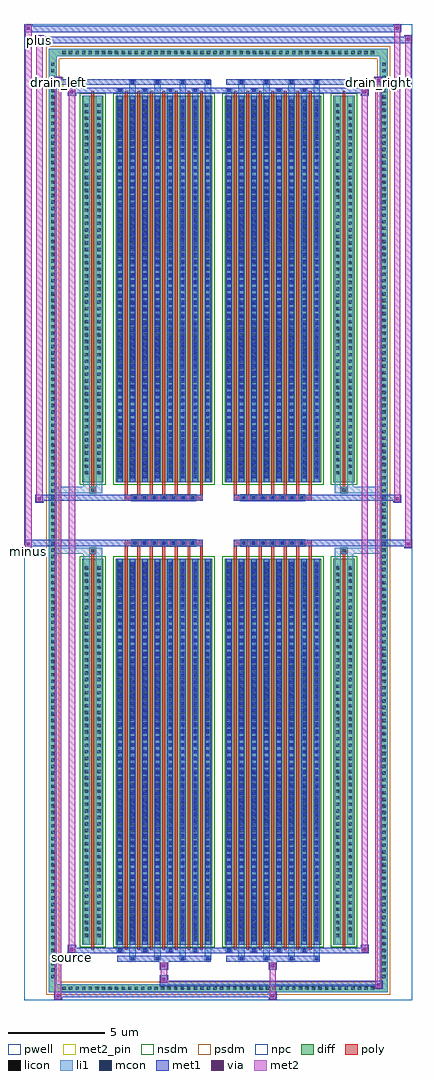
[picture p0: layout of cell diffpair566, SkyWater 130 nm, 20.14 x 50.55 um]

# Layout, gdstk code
import gdstk
lib = gdstk.Library(unit=1e-6, precision=5e-09)
def R(c, l, rs):  # rectangles x0, y0, x1, y1
    for r in rs: c.add(gdstk.rectangle(r[:2], r[2:], *l))
def A(c, l, x, y, w, h, nx, ny, dx, dy):  # array of equal rectangles
    R(c, l, [(x+i*dx, y+j*dy, x+i*dx+w, y+j*dy+h) for i in range(nx) for j in range(ny)])
def P(c, l, *ps):  # polygons
    for p in ps: c.add(gdstk.Polygon(p, *l))
pwell = (64, 44)
diff = (65, 20)
poly = (66, 20)
licon = (66, 44)
li1 = (67, 20)
mcon = (67, 44)
met1 = (68, 20)
via = (68, 44)
met2_pin = (69, 16)
met2 = (69, 20)
nsdm = (93, 44)
psdm = (94, 20)
npc = (95, 20)

diffpair566 = lib.new_cell('diffpair566')
R(diffpair566, pwell, [(-10.05,-24.84,10.05,25.71), (-7.37,-23.03,-0.01,-0.805), (0.01,-23.03,7.37,-0.805), (-7.37,0.805,-0.01,23.03), (0.01,0.805,7.37,23.03)])
A(diffpair566, diff, -8.195, -24.44, 0.41, 0.41, 48, 2, 0.34, 48.47)
A(diffpair566, diff, -8.78, -23.835, 0.41, 0.41, 1, 140, 0, 0.34)
A(diffpair566, diff, 8.37, -23.835, 0.41, 0.41, 1, 140, 0, 0.34)
R(diffpair566, diff, [(-8.195,-24.44,8.195,-24.03), (-8.78,-23.835,-8.37,23.835), (8.37,-23.835,8.78,23.835), (-7.06,-21.985,-5.96,-1.985), (-5.32,-21.985,-0.32,-1.985), (0.32,-21.985,5.32,-1.985), (5.96,-21.985,7.06,-1.985), (-7.06,1.985,-5.96,21.985), (-5.32,1.985,-0.32,21.985), (0.32,1.985,5.32,21.985), (5.96,1.985,7.06,21.985), (-8.195,24.03,8.195,24.44)])
P(diffpair566, diff, [(8.78,24.44),(-8.78,24.44),(-8.78,-24.03),(-8.37,-24.03),(-8.37,24.03),(8.37,24.03),(8.37,-24.03),(-8.37,-24.03),(-8.78,-24.03),(-8.78,-24.44),(8.78,-24.44)])
A(diffpair566, poly, -4.845, -22.235, 0.15, 20.5, 7, 2, 0.65, 23.97)
A(diffpair566, poly, 0.795, -22.235, 0.15, 20.5, 7, 2, 0.65, 23.97)
A(diffpair566, poly, -4.845, -1.735, 0.15, 0.4, 7, 2, 0.65, 3.07)
A(diffpair566, poly, 0.795, -1.735, 0.15, 0.4, 7, 2, 0.65, 3.07)
A(diffpair566, poly, -4.485, -1.335, 0.33, 0.33, 7, 2, 0.5, 2.34)
A(diffpair566, poly, 1.155, -1.335, 0.33, 0.33, 7, 2, 0.5, 2.34)
R(diffpair566, poly, [(-6.585,-22.235,-6.435,-1.735), (6.435,-22.235,6.585,-1.735), (-6.675,-1.735,-6.345,-1.405), (-6.675,-1.735,-6.345,-1.405), (6.345,-1.735,6.675,-1.405), (6.345,-1.735,6.675,-1.405), (-4.845,-1.335,-0.795,-1.005), (0.795,-1.335,4.845,-1.005), (-4.845,1.005,-0.795,1.335), (0.795,1.005,4.845,1.335), (-6.675,1.405,-6.345,1.735), (-6.675,1.405,-6.345,1.735), (6.345,1.405,6.675,1.735), (6.345,1.405,6.675,1.735), (-6.585,1.735,-6.435,22.235), (6.435,1.735,6.585,22.235)])
A(diffpair566, licon, -8.075, -24.32, 0.17, 0.17, 48, 2, 0.34, 48.47)
A(diffpair566, licon, -8.66, -23.715, 0.17, 0.17, 1, 140, 0, 0.34)
A(diffpair566, licon, 8.49, -23.715, 0.17, 0.17, 1, 140, 0, 0.34)
A(diffpair566, licon, -6.92, -21.59, 0.17, 0.17, 1, 57, 0, 0.34)
A(diffpair566, licon, -6.27, -21.59, 0.17, 0.17, 1, 57, 0, 0.34)
A(diffpair566, licon, -5.18, -21.59, 0.17, 0.17, 8, 57, 0.65, 0.34)
A(diffpair566, licon, 0.46, -21.59, 0.17, 0.17, 8, 57, 0.65, 0.34)
A(diffpair566, licon, 6.1, -21.59, 0.17, 0.17, 1, 57, 0, 0.34)
A(diffpair566, licon, 6.75, -21.59, 0.17, 0.17, 1, 57, 0, 0.34)
A(diffpair566, licon, -4.405, -1.255, 0.17, 0.17, 7, 2, 0.5, 2.34)
A(diffpair566, licon, 1.235, -1.255, 0.17, 0.17, 7, 2, 0.5, 2.34)
A(diffpair566, licon, -6.92, 2.38, 0.17, 0.17, 1, 57, 0, 0.34)
A(diffpair566, licon, -6.27, 2.38, 0.17, 0.17, 1, 57, 0, 0.34)
A(diffpair566, licon, -5.18, 2.38, 0.17, 0.17, 8, 57, 0.65, 0.34)
A(diffpair566, licon, 0.46, 2.38, 0.17, 0.17, 8, 57, 0.65, 0.34)
A(diffpair566, licon, 6.1, 2.38, 0.17, 0.17, 1, 57, 0, 0.34)
A(diffpair566, licon, 6.75, 2.38, 0.17, 0.17, 1, 57, 0, 0.34)
R(diffpair566, licon, [(-6.595,-1.655,-6.425,-1.485), (6.425,-1.655,6.595,-1.485), (-6.595,1.485,-6.425,1.655), (6.425,1.485,6.595,1.655)])
A(diffpair566, li1, -8.155, -24.4, 0.33, 0.33, 48, 2, 0.34, 48.47)
A(diffpair566, li1, -8.74, -23.795, 0.33, 0.33, 1, 140, 0, 0.34)
A(diffpair566, li1, 8.41, -23.795, 0.33, 0.33, 1, 140, 0, 0.34)
A(diffpair566, li1, -4.61, -22.79, 0.33, 0.805, 4, 2, 1.3, 44.775)
A(diffpair566, li1, -4.53, -22.79, 0.17, 0.17, 4, 2, 1.3, 45.41)
A(diffpair566, li1, 1.03, -22.79, 0.33, 0.805, 4, 2, 1.3, 44.775)
A(diffpair566, li1, 1.11, -22.79, 0.17, 0.17, 4, 2, 1.3, 45.41)
A(diffpair566, li1, -5.26, -22.36, 0.33, 0.375, 4, 2, 1.3, 44.345)
A(diffpair566, li1, -5.18, -22.36, 0.17, 0.17, 4, 2, 1.3, 44.55)
A(diffpair566, li1, 0.38, -22.36, 0.33, 0.375, 4, 2, 1.3, 44.345)
A(diffpair566, li1, 0.46, -22.36, 0.17, 0.17, 4, 2, 1.3, 44.55)
A(diffpair566, li1, -5.26, -21.985, 0.33, 20, 8, 2, 0.65, 23.97)
A(diffpair566, li1, 0.38, -21.985, 0.33, 20, 8, 2, 0.65, 23.97)
A(diffpair566, li1, -5.18, -21.79, 0.17, 0.17, 8, 55, 0.65, 0.36)
A(diffpair566, li1, -5.18, -21.79, 0.17, 19.61, 8, 2, 0.65, 23.97)
A(diffpair566, li1, 0.46, -21.79, 0.17, 0.17, 8, 55, 0.65, 0.36)
A(diffpair566, li1, 0.46, -21.79, 0.17, 19.61, 8, 2, 0.65, 23.97)
A(diffpair566, li1, -7, -21.67, 0.33, 0.33, 1, 57, 0, 0.34)
A(diffpair566, li1, -6.35, -21.67, 0.33, 0.33, 1, 57, 0, 0.34)
A(diffpair566, li1, -5.26, -21.67, 0.33, 0.33, 8, 57, 0.65, 0.34)
A(diffpair566, li1, 0.38, -21.67, 0.33, 0.33, 8, 57, 0.65, 0.34)
A(diffpair566, li1, 6.02, -21.67, 0.33, 0.33, 1, 57, 0, 0.34)
A(diffpair566, li1, 6.67, -21.67, 0.33, 0.33, 1, 57, 0, 0.34)
A(diffpair566, li1, -4.485, -1.335, 0.33, 0.33, 7, 2, 0.5, 2.34)
A(diffpair566, li1, 1.155, -1.335, 0.33, 0.33, 7, 2, 0.5, 2.34)
A(diffpair566, li1, -5.18, 2.18, 0.17, 0.17, 8, 55, 0.65, 0.36)
A(diffpair566, li1, 0.46, 2.18, 0.17, 0.17, 8, 55, 0.65, 0.36)
A(diffpair566, li1, -7, 2.3, 0.33, 0.33, 1, 57, 0, 0.34)
A(diffpair566, li1, -6.35, 2.3, 0.33, 0.33, 1, 57, 0, 0.34)
A(diffpair566, li1, -5.26, 2.3, 0.33, 0.33, 8, 57, 0.65, 0.34)
A(diffpair566, li1, 0.38, 2.3, 0.33, 0.33, 8, 57, 0.65, 0.34)
A(diffpair566, li1, 6.02, 2.3, 0.33, 0.33, 1, 57, 0, 0.34)
A(diffpair566, li1, 6.67, 2.3, 0.33, 0.33, 1, 57, 0, 0.34)
R(diffpair566, li1, [(-8.78,-24.44,-8.37,-24.03), (-8.78,-24.44,-8.37,-24.03), (-8.37,-24.44,8.37,-24.03), (8.37,-24.44,8.78,-24.03), (8.37,-24.44,8.78,-24.03), (-8.78,-24.03,-8.37,24.03), (8.37,-24.03,8.78,24.03), (-7,-21.985,-6.67,-1.985), (-6.35,-21.985,-6.02,-1.985), (6.02,-21.985,6.35,-1.985), (6.67,-21.985,7,-1.985), (-7,-1.985,-6.67,-1.405), (-6.35,-1.985,-6.02,-1.405), (6.02,-1.985,6.35,-1.405), (6.67,-1.985,7,-1.405), (-8.78,-1.735,-6.675,-1.405), (-7,-1.735,-6.675,-1.405), (-6.675,-1.735,-6.345,-1.405), (-6.345,-1.735,-6.02,-1.405), (6.02,-1.735,6.345,-1.405), (6.345,-1.735,6.675,-1.405), (6.345,-1.735,8.78,-1.405), (6.675,-1.735,7,-1.405), (-8.78,1.405,-6.675,1.735), (-7,1.405,-6.675,1.735), (-7,1.405,-6.67,1.985), (-6.675,1.405,-6.345,1.735), (-6.35,1.405,-6.02,1.985), (-6.345,1.405,-6.02,1.735), (6.02,1.405,6.345,1.735), (6.02,1.405,6.35,1.985), (6.345,1.405,6.675,1.735), (6.345,1.405,8.78,1.735), (6.67,1.405,7,1.985), (6.675,1.405,7,1.735), (-7,1.985,-6.67,21.985), (-6.35,1.985,-6.02,21.985), (6.02,1.985,6.35,21.985), (6.67,1.985,7,21.985), (-8.78,24.03,-8.37,24.44), (-8.78,24.03,-8.37,24.44), (-8.37,24.03,8.37,24.44), (8.37,24.03,8.78,24.44), (8.37,24.03,8.78,24.44)])
A(diffpair566, mcon, -4.53, -22.79, 0.17, 0.17, 4, 2, 1.3, 45.41)
A(diffpair566, mcon, 1.11, -22.79, 0.17, 0.17, 4, 2, 1.3, 45.41)
A(diffpair566, mcon, -5.18, -22.36, 0.17, 0.17, 4, 2, 1.3, 44.55)
A(diffpair566, mcon, 0.46, -22.36, 0.17, 0.17, 4, 2, 1.3, 44.55)
A(diffpair566, mcon, -5.18, -21.79, 0.17, 0.17, 8, 55, 0.65, 0.36)
A(diffpair566, mcon, 0.46, -21.79, 0.17, 0.17, 8, 55, 0.65, 0.36)
A(diffpair566, mcon, -4.405, -1.255, 0.17, 0.17, 7, 2, 0.5, 2.34)
A(diffpair566, mcon, 1.235, -1.255, 0.17, 0.17, 7, 2, 0.5, 2.34)
A(diffpair566, mcon, -5.18, 2.18, 0.17, 0.17, 8, 55, 0.65, 0.36)
A(diffpair566, mcon, 0.46, 2.18, 0.17, 0.17, 8, 55, 0.65, 0.36)
A(diffpair566, met1, -4.59, -22.85, 0.29, 0.29, 4, 2, 1.3, 45.41)
A(diffpair566, met1, 1.05, -22.85, 0.29, 0.29, 4, 2, 1.3, 45.41)
A(diffpair566, met1, -5.24, -22.42, 0.29, 0.29, 4, 2, 1.3, 44.55)
A(diffpair566, met1, 0.4, -22.42, 0.29, 0.29, 4, 2, 1.3, 44.55)
A(diffpair566, met1, -5.24, -21.985, 0.29, 20, 8, 2, 0.65, 23.97)
A(diffpair566, met1, 0.4, -21.985, 0.29, 20, 8, 2, 0.65, 23.97)
A(diffpair566, met1, -5.24, -21.85, 0.29, 0.29, 8, 55, 0.65, 0.36)
A(diffpair566, met1, 0.4, -21.85, 0.29, 0.29, 8, 55, 0.65, 0.36)
A(diffpair566, met1, -4.465, -1.315, 0.29, 0.29, 7, 2, 0.5, 2.34)
A(diffpair566, met1, 1.175, -1.315, 0.29, 0.29, 7, 2, 0.5, 2.34)
A(diffpair566, met1, -5.24, 2.12, 0.29, 0.29, 8, 55, 0.65, 0.36)
A(diffpair566, met1, 0.4, 2.12, 0.29, 0.29, 8, 55, 0.65, 0.36)
R(diffpair566, met1, [(-8.51,-24.84,-8.08,-24.41), (2.605,-24.84,3.035,-24.41), (-8.51,-24.7,3.035,-24.41), (8.08,-24.27,8.51,-23.84), (-3.035,-24.13,8.51,-23.84), (-3.035,-23.99,-2.605,-23.56), (-3.035,-23.28,-2.605,-22.85), (2.605,-23.28,3.035,-22.85), (-5.24,-22.85,-0.4,-22.56), (0.4,-22.85,5.24,-22.56), (-7.8,-22.42,-7.37,-21.99), (-7.8,-22.42,-5.24,-22.13), (-5.24,-22.42,-0.4,-22.13), (-0.4,-22.42,0.4,-22.13), (0.4,-22.42,5.24,-22.13), (5.24,-22.42,7.8,-22.13), (7.37,-22.42,7.8,-21.99), (-10.05,-1.435,-9.62,-1.005), (9.62,-1.435,10.05,-1.005), (-10.05,-1.335,-0.795,-1.005), (-4.845,-1.335,-0.795,-1.005), (0.795,-1.335,4.845,-1.005), (0.795,-1.335,10.05,-1.005), (-9.48,0.905,-9.05,1.335), (9.05,0.905,9.48,1.335), (-9.48,1.005,-4.845,1.335), (-4.845,1.005,-0.795,1.335), (0.795,1.005,4.845,1.335), (4.845,1.005,9.48,1.335), (-7.8,21.99,-7.37,22.42), (7.37,21.99,7.8,22.42), (-7.8,22.13,-5.24,22.42), (-5.24,22.13,-0.4,22.42), (-0.4,22.13,0.4,22.42), (0.4,22.13,5.24,22.42), (5.24,22.13,7.8,22.42), (-8.51,22.56,-8.08,22.99), (-8.51,22.56,-5.24,22.85), (-5.24,22.56,-0.4,22.85), (0.4,22.56,5.24,22.85), (5.24,22.56,8.51,22.85), (8.08,22.56,8.51,22.99), (-9.48,24.71,-9.05,25.14), (-9.48,24.71,-7.37,25.04), (-7.37,24.71,7.37,25.04), (7.37,24.71,10.05,25.04), (9.62,24.71,10.05,25.14), (-10.05,25.28,-9.62,25.71), (-10.05,25.28,-7.37,25.61), (-7.37,25.28,7.37,25.61), (7.37,25.28,9.48,25.61), (9.05,25.28,9.48,25.71)])
R(diffpair566, via, [(-8.37,-24.7,-8.22,-24.55), (2.745,-24.7,2.895,-24.55), (8.22,-24.13,8.37,-23.98), (-2.895,-23.85,-2.745,-23.7), (-2.895,-23.14,-2.745,-22.99), (2.745,-23.14,2.895,-22.99), (-7.66,-22.28,-7.51,-22.13), (7.51,-22.28,7.66,-22.13), (-9.91,-1.295,-9.76,-1.145), (9.76,-1.295,9.91,-1.145), (-9.34,1.045,-9.19,1.195), (9.19,1.045,9.34,1.195), (-7.66,22.13,-7.51,22.28), (7.51,22.13,7.66,22.28), (-8.37,22.7,-8.22,22.85), (8.22,22.7,8.37,22.85), (-9.34,24.85,-9.19,25), (9.76,24.85,9.91,25), (-9.91,25.42,-9.76,25.57), (9.19,25.42,9.34,25.57)])
R(diffpair566, met2_pin, [(-7.835,-22.87,-7.335,-22.37), (-10.085,-1.885,-9.585,-1.385), (-8.545,22.44,-8.045,22.94), (8.045,22.44,8.545,22.94), (-9.515,24.59,-9.015,25.09)])
R(diffpair566, met2, [(-8.46,-24.79,-8.13,-24.46), (-8.46,-24.79,-8.13,22.94), (2.655,-24.79,2.985,-24.46), (2.655,-24.46,2.985,-23.23), (8.13,-24.22,8.46,-23.89), (8.13,-24.22,8.46,22.94), (-2.985,-23.94,-2.655,-23.61), (-2.985,-23.61,-2.655,-23.23), (-2.985,-23.23,-2.655,-22.9), (2.655,-23.23,2.985,-22.9), (-7.75,-22.37,-7.42,-22.04), (-7.75,-22.37,-7.42,22.37), (7.42,-22.37,7.75,-22.04), (7.42,-22.37,7.75,22.37), (-10,-1.385,-9.67,-1.055), (-10,-1.385,-9.67,25.66), (9.67,-1.385,10,-1.055), (9.67,-1.385,10,25.09), (-9.43,0.955,-9.1,1.285), (-9.43,0.955,-9.1,25.09), (9.1,0.955,9.43,1.285), (9.1,0.955,9.43,25.66), (-7.75,22.04,-7.42,22.37), (7.42,22.04,7.75,22.37), (-8.46,22.61,-8.13,22.94), (8.13,22.61,8.46,22.94), (-9.43,24.76,-9.1,25.09), (9.67,24.76,10,25.09), (-10,25.33,-9.67,25.66), (9.1,25.33,9.43,25.66)])
P(diffpair566, met2, [(10,-1.385),(10,-1.385),(10,-1.055),(10,-1.055)],
  [(10,24.76),(10,24.76),(10,25.09),(10,25.09)],
  [(-9.67,-1.385),(-9.67,-1.385),(-9.67,-1.055),(-9.67,-1.055)],
  [(-9.67,25.33),(-9.67,25.33),(-9.67,25.66),(-9.67,25.66)],
  [(9.43,0.955),(9.43,0.955),(9.43,1.285),(9.43,1.285)],
  [(9.43,25.33),(9.43,25.33),(9.43,25.66),(9.43,25.66)],
  [(-9.1,0.955),(-9.1,0.955),(-9.1,1.285),(-9.1,1.285)],
  [(-9.1,24.76),(-9.1,24.76),(-9.1,25.09),(-9.1,25.09)],
  [(-8.13,-24.79),(-8.13,-24.79),(-8.13,-24.46),(-8.13,-24.46)],
  [(-8.13,22.61),(-8.13,22.61),(-8.13,22.94),(-8.13,22.94)],
  [(8.46,-24.22),(8.46,-24.22),(8.46,-23.89),(8.46,-23.89)],
  [(8.46,22.61),(8.46,22.61),(8.46,22.94),(8.46,22.94)],
  [(-7.42,-22.37),(-7.42,-22.37),(-7.42,-22.04),(-7.42,-22.04)],
  [(-7.42,22.04),(-7.42,22.04),(-7.42,22.37),(-7.42,22.37)],
  [(7.75,-22.37),(7.75,-22.37),(7.75,-22.04),(7.75,-22.04)],
  [(7.75,22.04),(7.75,22.04),(7.75,22.37),(7.75,22.37)])
R(diffpair566, nsdm, [(-7.19,-22.115,-5.83,-1.855), (-5.45,-22.115,-0.19,-1.855), (0.19,-22.115,5.45,-1.855), (5.83,-22.115,7.19,-1.855), (-7.19,1.855,-5.83,22.115), (-5.45,1.855,-0.19,22.115), (0.19,1.855,5.45,22.115), (5.83,1.855,7.19,22.115)])
P(diffpair566, psdm, [(8.91,24.57),(-8.91,24.57),(-8.91,-23.9),(-8.24,-23.9),(-8.24,23.9),(8.24,23.9),(8.24,-23.9),(-8.24,-23.9),(-8.91,-23.9),(-8.91,-24.57),(8.91,-24.57)])
A(diffpair566, npc, -4.505, -1.355, 0.37, 0.37, 7, 2, 0.5, 2.34)
A(diffpair566, npc, 1.135, -1.355, 0.37, 0.37, 7, 2, 0.5, 2.34)
R(diffpair566, npc, [(-6.695,-1.755,-6.325,-1.385), (6.325,-1.755,6.695,-1.385), (-4.505,-1.355,-3.635,-0.985), (-4.505,-1.355,-3.635,-0.985), (-4.005,-1.355,-3.135,-0.985), (-4.005,-1.355,-3.135,-0.985), (-3.505,-1.355,-2.635,-0.985), (-3.505,-1.355,-2.635,-0.985), (-3.005,-1.355,-2.135,-0.985), (-3.005,-1.355,-2.135,-0.985), (-2.505,-1.355,-1.635,-0.985), (-2.505,-1.355,-1.635,-0.985), (-2.005,-1.355,-1.135,-0.985), (-2.005,-1.355,-1.135,-0.985), (1.135,-1.355,2.005,-0.985), (1.135,-1.355,2.005,-0.985), (1.635,-1.355,2.505,-0.985), (1.635,-1.355,2.505,-0.985), (2.135,-1.355,3.005,-0.985), (2.135,-1.355,3.005,-0.985), (2.635,-1.355,3.505,-0.985), (2.635,-1.355,3.505,-0.985), (3.135,-1.355,4.005,-0.985), (3.135,-1.355,4.005,-0.985), (3.635,-1.355,4.505,-0.985), (3.635,-1.355,4.505,-0.985), (-4.505,0.985,-3.635,1.355), (-4.505,0.985,-3.635,1.355), (-4.005,0.985,-3.135,1.355), (-4.005,0.985,-3.135,1.355), (-3.505,0.985,-2.635,1.355), (-3.505,0.985,-2.635,1.355), (-3.005,0.985,-2.135,1.355), (-3.005,0.985,-2.135,1.355), (-2.505,0.985,-1.635,1.355), (-2.505,0.985,-1.635,1.355), (-2.005,0.985,-1.135,1.355), (-2.005,0.985,-1.135,1.355), (1.135,0.985,2.005,1.355), (1.135,0.985,2.005,1.355), (1.635,0.985,2.505,1.355), (1.635,0.985,2.505,1.355), (2.135,0.985,3.005,1.355), (2.135,0.985,3.005,1.355), (2.635,0.985,3.505,1.355), (2.635,0.985,3.505,1.355), (3.135,0.985,4.005,1.355), (3.135,0.985,4.005,1.355), (3.635,0.985,4.505,1.355), (3.635,0.985,4.505,1.355), (-6.695,1.385,-6.325,1.755), (6.325,1.385,6.695,1.755)])
diffpair566.add(gdstk.Label('minus', (-9.835,-1.635), layer=69, texttype=5))
diffpair566.add(gdstk.Label('drain_right', (8.295,22.69), layer=69, texttype=5))
diffpair566.add(gdstk.Label('drain_left', (-8.295,22.69), layer=69, texttype=5))
diffpair566.add(gdstk.Label('source', (-7.585,-22.62), layer=69, texttype=5))
diffpair566.add(gdstk.Label('plus', (-9.265,24.84), layer=69, texttype=5))

lib.write_gds('diffpair566.gds')
